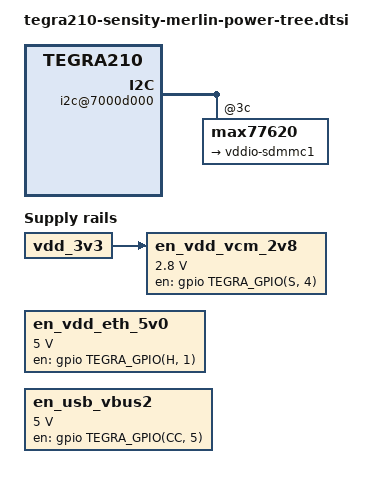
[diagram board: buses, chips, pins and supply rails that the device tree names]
/*
 * Copyright (c) 2016 Sensity Systems, Inc.  All rights reserved.
 * Copyright (c) 2017 Verizon Communications, Inc.  All rights reserved.
 *
 * This program is free software; you can redistribute it and/or modify
 * it under the terms of the GNU General Public License as published by
 * the Free Software Foundation; either version 2 of the License, or
 * (at your option) any later version.
 *
 * This program is distributed in the hope that it will be useful, but WITHOUT
 * ANY WARRANTY; without even the implied warranty of MERCHANTABILITY or
 * FITNESS FOR A PARTICULAR PURPOSE.  See the GNU General Public License for
 * more details.
 *
 */

#include "jetson-platforms/tegra210-jetson-common-power-tree-p2530-0930-e03.dtsi"

/ {

	i2c@7000d000 {
		max77620@3c {
			backup-battery {
				maxim,backup-battery-charging-current = <800>;
				maxim,backup-battery-charging-voltage = <3500000>;
				maxim,backup-battery-output-resister = <100>;
			};

			pinmux@0 {
				pin_gpio1 {
					maxim,active-fps-source = <MAX77620_FPS_SRC_NONE>;
					maxim,active-fps-power-up-slot = <0>;
					maxim,active-fps-power-down-slot = <7>;
				};

				pin_gpio2 {
					pins = "gpio2";
					maxim,active-fps-source = <MAX77620_FPS_SRC_0>;
					maxim,active-fps-power-up-slot = <0>;
					maxim,active-fps-power-down-slot = <7>;
				};

				pin_gpio3 {
					pins = "gpio3";
					maxim,active-fps-source = <MAX77620_FPS_SRC_0>;
					maxim,active-fps-power-up-slot = <4>;
					maxim,active-fps-power-down-slot = <3>;
				};
			};

			fps {
				fps0 {
					maxim,shutdown-fps-time-period-us = <1280>;
				};

				fps1 {
					maxim,shutdown-fps-time-period-us = <1280>;
				};
			};

			regulators {
				sd0 {
					maxim,active-fps-source = <MAX77620_FPS_SRC_1>;
					maxim,active-fps-power-up-slot = <1>;
					maxim,active-fps-power-down-slot = <6>;
					regulator-ramp-delay = <27500>;
				};

				sd1 {
					maxim,active-fps-source = <MAX77620_FPS_SRC_0>;
					maxim,active-fps-power-up-slot = <5>;
					maxim,active-fps-power-down-slot = <2>;
					regulator-ramp-delay = <27500>;
				};

				sd2 {
					maxim,active-fps-source = <MAX77620_FPS_SRC_1>;
					maxim,active-fps-power-up-slot = <2>;
					maxim,active-fps-power-down-slot = <5>;
					regulator-ramp-delay = <27500>;
				};

				sd3 {
					maxim,active-fps-source = <MAX77620_FPS_SRC_0>;
					maxim,active-fps-power-up-slot = <3>;
					maxim,active-fps-power-down-slot = <4>;
					regulator-ramp-delay = <27500>;
				};

				sd4 {
					maxim,active-fps-source = <MAX77620_FPS_SRC_NONE>;
					maxim,active-fps-power-up-slot = <0>;
					maxim,active-fps-power-down-slot = <7>;
					regulator-ramp-delay = <27500>;
				};

				ldo0 {
					maxim,active-fps-source = <MAX77620_FPS_SRC_NONE>;
					maxim,active-fps-power-up-slot = <0>;
					maxim,active-fps-power-down-slot = <7>;
					regulator-enable-ramp-delay = <84>;
					regulator-disable-ramp-delay = <14700>;
					regulator-ramp-delay = <100000>;
					regulator-ramp-delay-scale = <750>;
				};

				ldo1 {
					maxim,active-fps-source = <MAX77620_FPS_SRC_0>;
					maxim,active-fps-power-up-slot = <0>;
					maxim,active-fps-power-down-slot = <3>;
					regulator-enable-ramp-delay = <34>;
					regulator-disable-ramp-delay = <660>;
					regulator-ramp-delay = <100000>;
					regulator-ramp-delay-scale = <350>;
				};

				ldo2 {
					regulator-name = "vddio-sdmmc1";
					maxim,active-fps-source = <MAX77620_FPS_SRC_NONE>;
					maxim,active-fps-power-up-slot = <0>;
					maxim,active-fps-power-down-slot = <7>;
					regulator-enable-ramp-delay = <300>;
					regulator-disable-ramp-delay = <64000>;
					regulator-ramp-delay = <100000>;
					regulator-ramp-delay-scale = <950>;
				};

				ldo3 {
					maxim,active-fps-source = <MAX77620_FPS_SRC_NONE>;
					maxim,active-fps-power-up-slot = <0>;
					maxim,active-fps-power-down-slot = <7>;
					regulator-ramp-delay = <100000>;
				};

				ldo4 {
					maxim,active-fps-source = <MAX77620_FPS_SRC_0>;
					maxim,active-fps-power-up-slot = <1>;
					maxim,active-fps-power-down-slot = <6>;
					regulator-enable-ramp-delay = <23>;
					regulator-disable-ramp-delay = <1100>;
					regulator-ramp-delay = <100000>;
					regulator-ramp-delay-scale = <250>;
				};

				ldo5 {
					maxim,active-fps-source = <MAX77620_FPS_SRC_NONE>;
					maxim,active-fps-power-up-slot = <0>;
					maxim,active-fps-power-down-slot = <7>;
					regulator-ramp-delay = <100000>;
				};

				ldo6 {
					maxim,active-fps-source = <MAX77620_FPS_SRC_NONE>;
					maxim,active-fps-power-up-slot = <0>;
					maxim,active-fps-power-down-slot = <7>;
					regulator-ramp-delay = <100000>;
				};

				ldo7 {
					maxim,active-fps-source = <MAX77620_FPS_SRC_1>;
					maxim,active-fps-power-up-slot = <3>;
					maxim,active-fps-power-down-slot = <4>;
					regulator-enable-ramp-delay = <124>;
					regulator-disable-ramp-delay = <24000>;
					regulator-ramp-delay = <100000>;
					regulator-ramp-delay-scale = <1200>;
				};

				ldo8 {
					maxim,active-fps-source = <MAX77620_FPS_SRC_1>;
					maxim,active-fps-power-up-slot = <6>;
					maxim,active-fps-power-down-slot = <1>;
					regulator-enable-ramp-delay = <93>;
					regulator-disable-ramp-delay = <10000>;
					regulator-ramp-delay = <100000>;
					regulator-ramp-delay-scale = <900>;
				};

			};
		};
	};

	regulators {
		compatible = "simple-bus";
		device_type = "fixed-regulators";
		#address-cells = <1>;
		#size-cells = <0>;

		max77620_gpio7: regulator@2 {
			regulator-min-microvolt = <1050000>;
			regulator-max-microvolt = <1050000>;
			vin-supply = <&max77620_ldo7>;
		};

		en_vdd_sd: regulator@4 {
			gpio = <&gpio TEGRA_GPIO(Z, 3) GPIO_ACTIVE_HIGH>;
		};

		en_vdd_eth_5v0: regulator@207 {
			compatible = "regulator-fixed-sync";
			reg = <207>;
			regulator-name = "rtl-5v0";
			regulator-min-microvolt = <5000000>;
			regulator-max-microvolt = <5000000>;
			gpio = <&gpio TEGRA_GPIO(H, 1) GPIO_ACTIVE_HIGH>;
			enable-active-high;
		};

		en_usb_vbus2: regulator@208 {
			compatible = "regulator-fixed-sync";
			reg = <208>;
			regulator-name = "en-usb-vbus2";
			regulator-min-microvolt = <5000000>;
			regulator-max-microvolt = <5000000>;
			gpio = <&gpio TEGRA_GPIO(CC, 5) GPIO_ACTIVE_HIGH>;
			gpio-open-drain;
			enable-active-high;
		};

		en_vdd_vcm_2v8: regulator@210 {
			compatible = "regulator-fixed-sync";
			reg = <210>;
			regulator-name = "en-vdd-vcm-2v8";
			regulator-min-microvolt = <2800000>;
			regulator-max-microvolt = <2800000>;
			vin-supply = <&vdd_3v3>;
			gpio = <&gpio TEGRA_GPIO(S, 4) 0>;
			enable-active-high;
		};

	};

	host1x {
		dc@54200000 {
			avdd_dsi_csi-supply = <&max77620_ldo0>;
			vdd_lcd_bl_en-supply = <&lcd_bl_en>;
			vdd_lcd_bl-supply = <&vdd_3v3>;

			/* eDP */
			avdd_io_edp-supply = <&max77620_gpio7>;
		};

		vi {
			avdd_dsi_csi-supply = <&max77620_ldo0>;
		};
	};

	pwm-fan {
		vdd-fan-supply = <&vdd_fan>;
	};

	otg@7d000000 {
		usb_vbus-supply = <&usb_vbus1>;
	};

	pinctrl@7009f000 {
		vbus-0-supply = <&usb_vbus1>;
		vbus-1-supply = <&en_vdd_eth_5v0>;
		vbus-2-supply = <&en_usb_vbus2>;
	};

	pmc-iopower {
		vddio-sys-supply = <&max77620_sd3>;
		vddio-uart-supply = <&max77620_sd3>;
		vddio-audio-supply = <&max77620_sd3>;
		vddio-cam-supply = <&max77620_sd3>;
		vddio-pex-ctrl-supply = <&max77620_sd3>;
		vddio-sdmmc1-supply = <&max77620_ldo2>;
		vddio-sdmmc3-supply = <&max77620_sd3>;
		vddio-sdmmc4-supply = <&max77620_sd3>;
		vddio-audio-hv-supply = <&max77620_sd3>;
		vddio-debug-supply = <&max77620_sd3>;
		vddio-dbg-supply = <&max77620_sd3>;
		vddio-dmic-supply = <&max77620_sd3>;
		vddio-gpio-supply = <&max77620_sd3>;
		vddio-spi-supply = <&max77620_sd3>;
		vddio-spi-hv-supply = <&max77620_sd3>;
		vddio-sdmmc2-supply = <&max77620_sd3>;
		vddio-dp-supply = <&max77620_sd3>;
	};

	pmc@7000e400 {
		io-pad-defaults {
			audio-hv {
				nvidia,io-pad-init-voltage = <IO_PAD_VOLTAGE_1_8V>;
			};

			spi-hv {
				nvidia,io-pad-init-voltage = <IO_PAD_VOLTAGE_1_8V>;
			};

			gpio {
				nvidia,io-pad-init-voltage = <IO_PAD_VOLTAGE_1_8V>;
			};
			sdmmc3 {
				nvidia,io-pad-init-voltage = <IO_PAD_VOLTAGE_1_8V>;
			};
		};
	};
};
